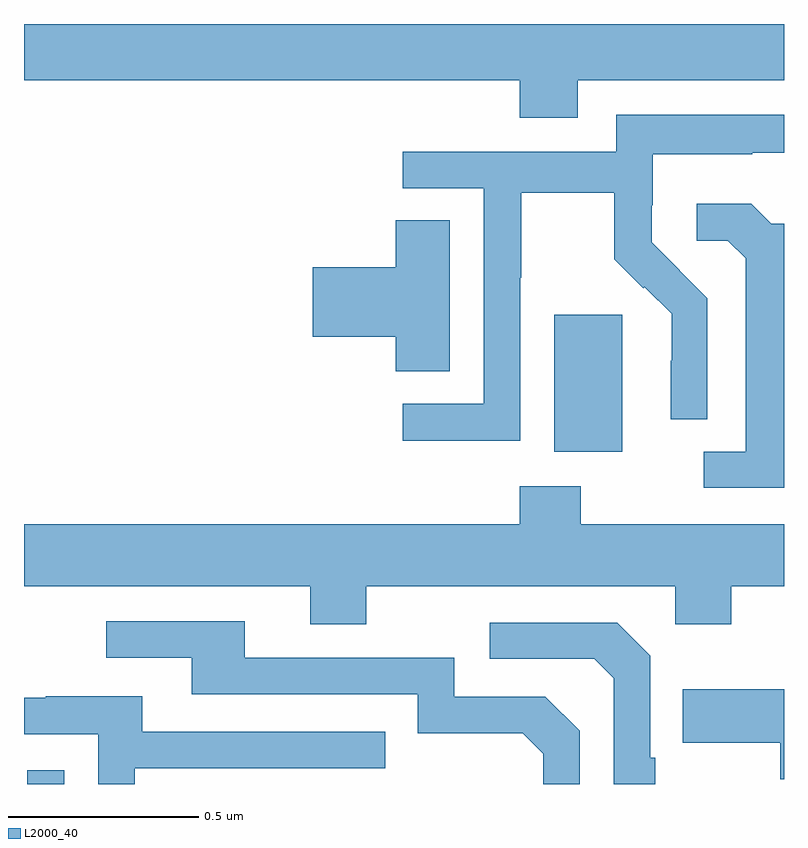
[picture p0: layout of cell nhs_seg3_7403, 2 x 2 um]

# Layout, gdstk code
import gdstk
lib = gdstk.Library(unit=1e-6, precision=1e-09)
def R(c, l, rs):  # rectangles x0, y0, x1, y1
    for r in rs: c.add(gdstk.rectangle(r[:2], r[2:], *l))
def P(c, l, *ps):  # polygons
    for p in ps: c.add(gdstk.Polygon(p, *l))
L2000_40 = (2000, 40)

nhs_seg3_7403 = lib.new_cell('nhs_seg3_7403')
R(nhs_seg3_7403, L2000_40, [(203.009,696.4,203.106,696.436), (204.395,697.274,204.574,697.635)])
P(nhs_seg3_7403, L2000_40, [(204.457,698.252),(205,698.252),(205,698.4),(203,698.4),(203,698.252),(204.305,698.252),(204.305,698.153),(204.457,698.153)],
  [(204.306,697.732),(204.309,697.732),(204.309,697.956),(204.553,697.956),(204.553,697.781),(204.63,697.704),(204.633,697.707),(204.704,697.637),(204.704,697.514),(204.702,697.514),(204.702,697.36),(204.798,697.36),(204.798,697.678),(204.725,697.751),(204.726,697.752),(204.652,697.826),(204.652,697.923),(204.654,697.923),(204.654,698.057),(204.917,698.057),(204.917,698.061),(205,698.061),(205,698.161),(204.558,698.161),(204.558,698.064),(203.997,698.064),(203.997,697.968),(204.21,697.968),(204.21,697.401),(203.997,697.401),(203.997,697.303),(204.306,697.303)],
  [(205,697.875),(204.966,697.875),(204.914,697.927),(204.771,697.927),(204.771,697.83),(204.852,697.83),(204.899,697.783),(204.899,697.275),(204.789,697.275),(204.789,697.179),(205,697.179)],
  [(204.121,697.883),(203.978,697.883),(203.978,697.76),(203.76,697.76),(203.76,697.577),(203.978,697.577),(203.978,697.486),(204.121,697.486)],
  [(203.901,696.92),(204.714,696.92),(204.714,696.821),(204.861,696.821),(204.861,696.92),(205,696.92),(205,697.084),(204.465,697.084),(204.465,697.183),(204.305,697.183),(204.305,697.084),(203,697.084),(203,696.92),(203.753,696.92),(203.753,696.821),(203.901,696.821)],
  [(204.462,696.54),(204.372,696.63),(204.132,696.63),(204.132,696.732),(203.581,696.732),(203.581,696.828),(203.217,696.828),(203.217,696.732),(203.441,696.732),(203.441,696.636),(204.036,696.636),(204.036,696.533),(204.313,696.533),(204.366,696.48),(204.366,696.4),(204.462,696.4)],
  [(204.661,696.469),(204.648,696.469),(204.648,696.738),(204.561,696.825),(204.225,696.825),(204.225,696.729),(204.501,696.729),(204.552,696.678),(204.552,696.4),(204.661,696.4)],
  [(205,696.649),(204.733,696.649),(204.733,696.509),(204.99,696.509),(204.99,696.413),(205,696.413)],
  [(203.292,696.441),(203.951,696.441),(203.951,696.537),(203.311,696.537),(203.311,696.631),(203.057,696.631),(203.057,696.627),(203,696.627),(203,696.531),(203.196,696.531),(203.196,696.4),(203.292,696.4)])

lib.write_gds('nhs_seg3_7403.gds')
